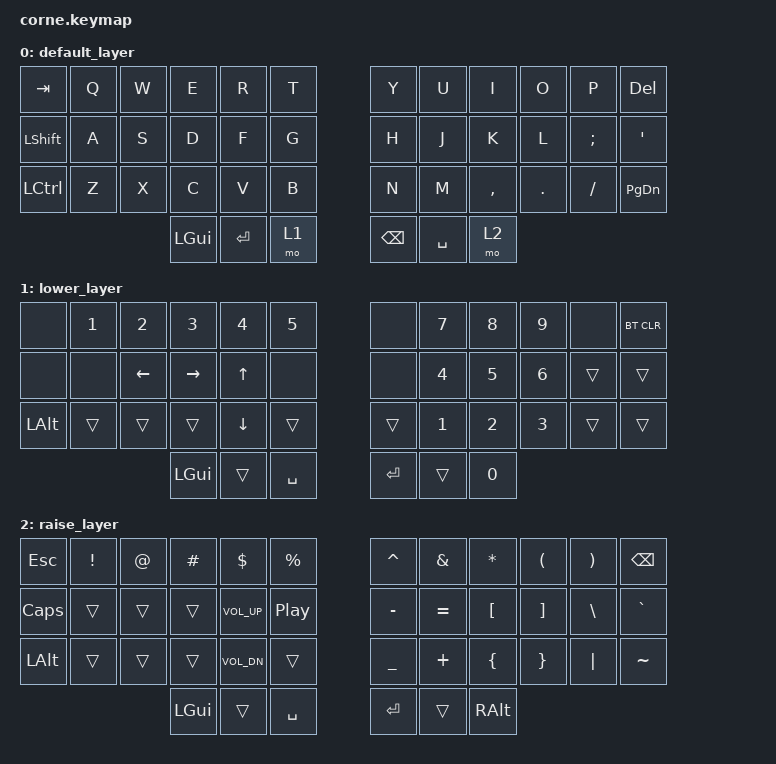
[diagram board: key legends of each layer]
/*
 * Copyright (c) 2020 The ZMK Contributors
 *
 * SPDX-License-Identifier: MIT
 */

#include <behaviors.dtsi>
#include <dt-bindings/zmk/keys.h>

/ {
    keymap {
        compatible = "zmk,keymap";

        default_layer {
            // -----------------------------------------------------------------------------------------
            // |  TAB |  Q  |  W  |  E  |  R  |  T  |   |  Y   |  U   |  I  |  O  |  P  | DEL |
            // | CTRL |  A  |  S  |  D  |  F  |  G  |   |  H   |  J   |  K  |  L  |  ;  |  '   |
            // | SHFT |  Z  |  X  |  C  |  V  |  B  |   |  N   |  M   |  ,  |  .  |  /  | PGDN  |
            //                    | CMD | RET | L1  |   | BSPC | SPC  | L2 |

            bindings = <
&kp TAB         &kp Q  &kp W  &kp E     &kp R       &kp T    &kp Y          &kp U      &kp I      &kp O    &kp P     &kp DEL
&kp LEFT_SHIFT  &kp A  &kp S  &kp D     &kp F       &kp G    &kp H          &kp J      &kp K      &kp L    &kp SEMI  &kp SQT
&kp LCTRL       &kp Z  &kp X  &kp C     &kp V       &kp B    &kp N          &kp M      &kp COMMA  &kp DOT  &kp FSLH  &kp PAGE_DOWN
                              &kp LGUI  &kp RETURN  &mo 1    &kp BACKSPACE  &kp SPACE  &mo 2
            >;
        };

        lower_layer {
            // -----------------------------------------------------------------------------------------
            // |      |  1  |  2  |  3  |  4  |  5  |   |     |  7  |  8  |  9  |     | BTCLR|
            // |      |     |left | rght| up  |     |   |     |  4  |  5  |  6  |     |      |
            // |      |     |     |     | dwn |     |   |     |  1  |  2  |  3  |     |      |
            //                    | CMD |     | SPC |   | ENT |     | 0  |

            bindings = <
&none     &kp N1  &kp N2          &kp N3     &kp N4        &kp N5       &none    &kp N7        &kp N8        &kp N9        &none   &bt BT_CLR
&none     &none   &kp LEFT_ARROW  &kp RIGHT  &kp UP_ARROW  &none        &none    &kp NUMBER_4  &kp N5        &kp NUMBER_6  &trans  &trans
&kp LALT  &trans  &trans          &trans     &kp DOWN      &trans       &trans   &kp NUMBER_1  &kp NUMBER_2  &kp NUMBER_3  &trans  &trans
                                  &kp LGUI   &trans        &kp SPACE    &kp RET  &trans        &kp NUMBER_0
            >;
        };

        raise_layer {
            // -----------------------------------------------------------------------------------------
            // |  TAB |  !  |  @  |  #  |  $  |  %  |   |  ^  |  &  |  *  |  (  |  )  | BSPC |
            // | SHFT |     |     |     |     |     |   |  -  |  =  |  [  |  ]  |  \  |  `   |
            // | CTRL |     |     |     |     |     |   |  _  |  +  |  {  |  }  | "|" |  ~   |
            //                    | GUI |     | SPC |   | ENT |     | ALT |

            bindings = <
&kp ESC       &kp EXCL  &kp AT  &kp HASH  &kp DLLR         &kp PRCNT           &kp CARET  &kp AMPS   &kp ASTRK  &kp LPAR  &kp RPAR  &kp BSPC
&kp CAPS      &trans    &trans  &trans    &kp C_VOLUME_UP  &kp C_PLAY_PAUSE    &kp MINUS  &kp EQUAL  &kp LBKT   &kp RBKT  &kp BSLH  &kp GRAVE
&kp LEFT_ALT  &trans    &trans  &trans    &kp C_VOL_DN     &trans              &kp UNDER  &kp PLUS   &kp LBRC   &kp RBRC  &kp PIPE  &kp TILDE
                                &kp LGUI  &trans           &kp SPACE           &kp RET    &trans     &kp RALT
            >;
        };
    };
};
